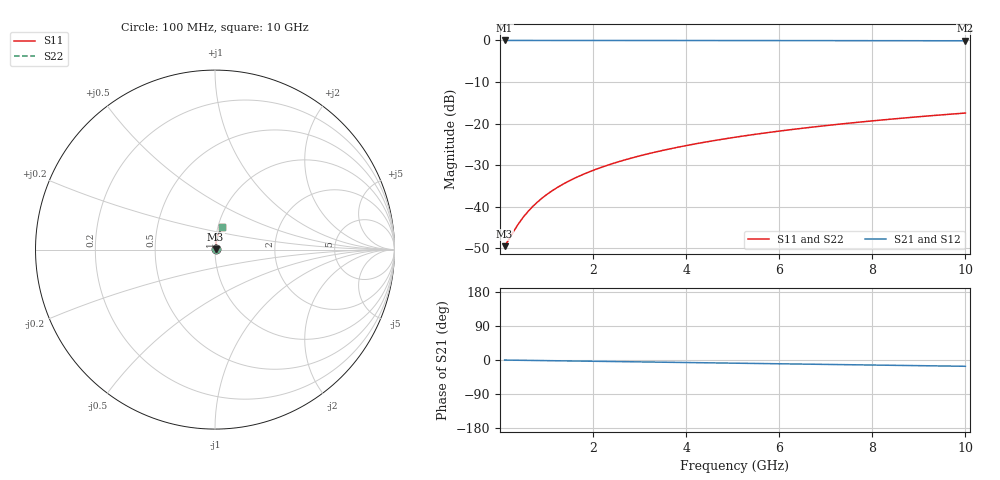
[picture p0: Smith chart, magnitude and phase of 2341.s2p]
# Hz S RI R 50.00
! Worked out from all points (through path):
!   100 points, 100 MHz to 10 GHz, reference 50 ohm
!   highest |S21| = -0.03 dB at 100 MHz (marker M1); lowest = -0.1 dB at 10 GHz (marker M2)
!   group delay of S21, straight-line fit = 4.61 ps
!   lowest |S11| = -49.5 dB at 100 MHz (marker M3), VSWR 1.01, Z = 50.3 + j0.136 ohm
!   |S11| at or under -10 dB: start of sweep to end of sweep
!   |S22| runs from -49.5 to -17.5 dB; largest |S21 - S12| = 0
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1e8  0.00308 0.00135  0.9969 -0.00289  0.9969 -0.00289  0.00308 0.00135
2e8  0.00311 0.0027  0.9969 -0.00578  0.9969 -0.00578  0.00311 0.0027
3e8  0.00315 0.00405  0.9968 -0.00867  0.9968 -0.00867  0.00315 0.00405
4e8  0.00318 0.0054  0.9968 -0.0116  0.9968 -0.0116  0.00318 0.0054
5e8  0.00323 0.00675  0.9967 -0.0144  0.9967 -0.0144  0.00323 0.00675
6e8  0.00328 0.0081  0.9967 -0.0173  0.9967 -0.0173  0.00328 0.0081
7e8  0.00334 0.00945  0.9966 -0.0202  0.9966 -0.0202  0.00334 0.00945
8e8  0.00341 0.0108  0.9965 -0.0231  0.9965 -0.0231  0.00341 0.0108
1e9  0.00356 0.0135  0.9963 -0.0289  0.9963 -0.0289  0.00356 0.0135
1.2e9  0.00374 0.0162  0.9961 -0.0347  0.9961 -0.0347  0.00374 0.0162
1.5e9  0.00407 0.0202  0.9956 -0.0433  0.9956 -0.0433  0.00407 0.0202
1.8e9  0.00447 0.0243  0.9951 -0.052  0.9951 -0.052  0.00447 0.0243
2.1e9  0.00494 0.0283  0.9945 -0.0606  0.9945 -0.0606  0.00494 0.0283
2.5e9  0.00568 0.0336  0.9935 -0.0721  0.9935 -0.0721  0.00568 0.0336
2.9e9  0.00653 0.039  0.9924 -0.0836  0.9924 -0.0836  0.00653 0.039
3.4e9  0.00777 0.0456  0.9908 -0.098  0.9908 -0.098  0.00777 0.0456
4.2e9  0.0102 0.0561  0.9877 -0.1208  0.9877 -0.1208  0.0102 0.0561
5.1e9  0.0134 0.0678  0.9834 -0.1464  0.9834 -0.1464  0.0134 0.0678
5.9e9  0.0168 0.078  0.979 -0.169  0.979 -0.169  0.0168 0.078
6.7e9  0.0207 0.0881  0.9739 -0.1914  0.9739 -0.1914  0.0207 0.0881
8.4e9  0.0304 0.1088  0.961 -0.2384  0.961 -0.2384  0.0304 0.1088
1e10  0.0414 0.1273  0.9465 -0.2817  0.9465 -0.2817  0.0414 0.1273
